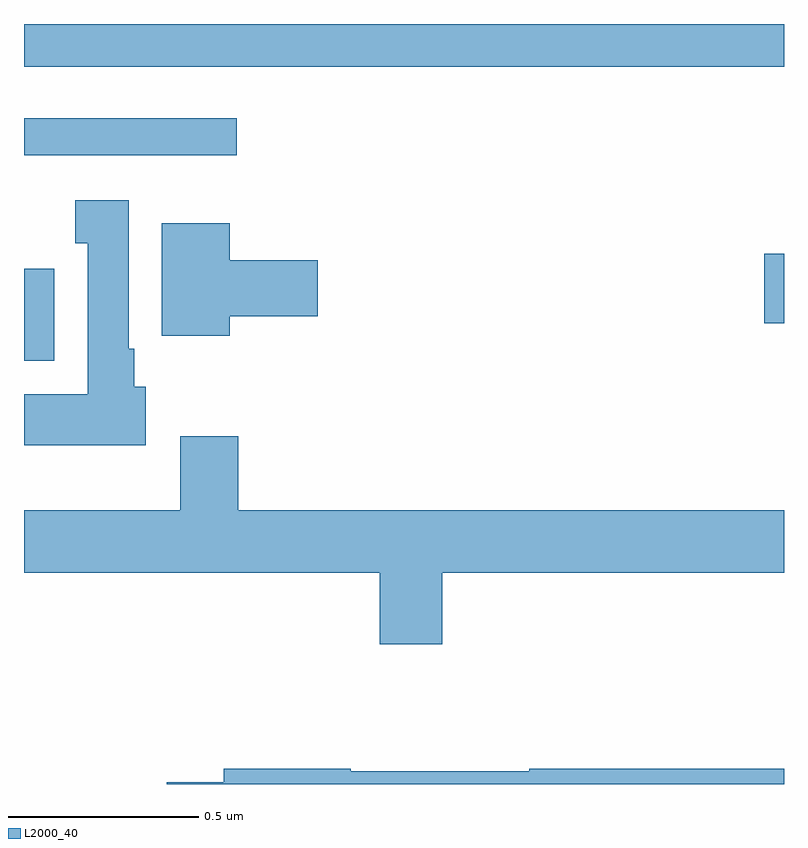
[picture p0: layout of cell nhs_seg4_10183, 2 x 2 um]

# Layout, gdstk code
import gdstk
lib = gdstk.Library(unit=1e-6, precision=1e-09)
def R(c, l, rs):  # rectangles x0, y0, x1, y1
    for r in rs: c.add(gdstk.rectangle(r[:2], r[2:], *l))
def P(c, l, *ps):  # polygons
    for p in ps: c.add(gdstk.Polygon(p, *l))
L2000_40 = (2000, 40)

nhs_seg4_10183 = lib.new_cell('nhs_seg4_10183')
R(nhs_seg4_10183, L2000_40, [(236,828.014,236.08,828.256), (237.948,828.113,238,828.296), (236,828.555,236.56,828.652), (236,828.788,238,828.9)])
P(nhs_seg4_10183, L2000_40, [(236.32,827.946),(236.29,827.946),(236.29,828.046),(236.275,828.046),(236.275,828.436),(236.135,828.436),(236.135,828.323),(236.168,828.323),(236.168,827.926),(236,827.926),(236,827.792),(236.32,827.792)],
  [(236.542,828.131),(236.773,828.131),(236.773,828.278),(236.542,828.278),(236.542,828.376),(236.363,828.376),(236.363,828.08),(236.542,828.08)],
  [(237.1,827.456),(238,827.456),(238,827.62),(236.564,827.62),(236.564,827.815),(236.411,827.815),(236.411,827.62),(236,827.62),(236,827.456),(236.936,827.456),(236.936,827.268),(237.1,827.268)],
  [(238,826.94),(237.329,826.94),(237.329,826.933),(236.86,826.933),(236.86,826.94),(236.525,826.94),(236.525,826.904),(236.376,826.904),(236.376,826.9),(238,826.9)])

lib.write_gds('nhs_seg4_10183.gds')
